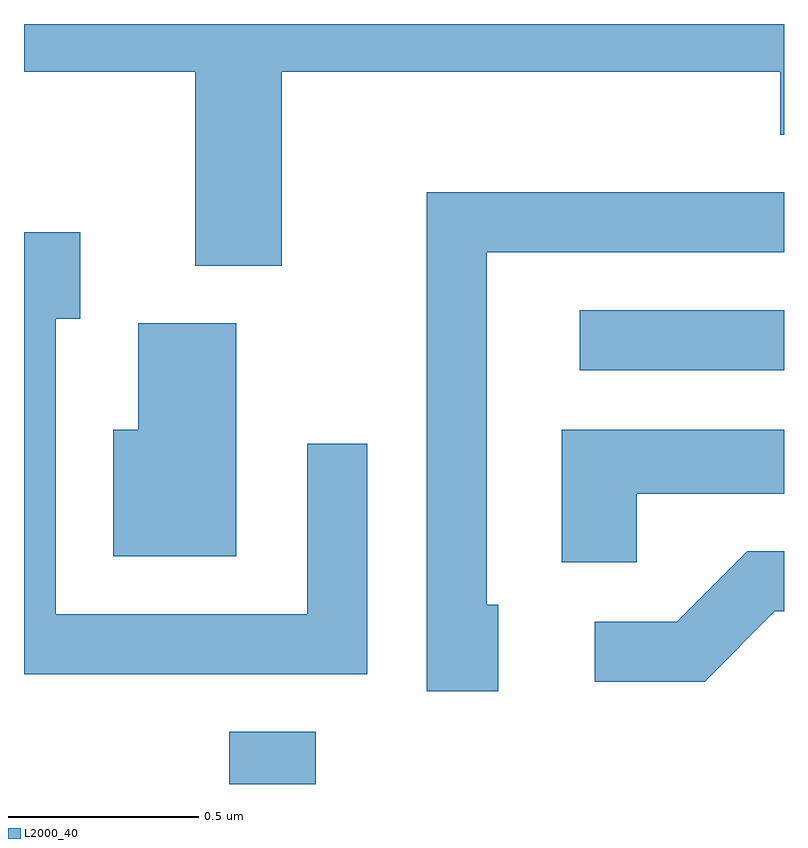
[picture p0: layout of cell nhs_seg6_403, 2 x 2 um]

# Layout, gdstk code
import gdstk
lib = gdstk.Library(unit=1e-6, precision=1e-09)
def R(c, l, rs):  # rectangles x0, y0, x1, y1
    for r in rs: c.add(gdstk.rectangle(r[:2], r[2:], *l))
def P(c, l, *ps):  # polygons
    for p in ps: c.add(gdstk.Polygon(p, *l))
L2000_40 = (2000, 40)

nhs_seg6_403 = lib.new_cell('nhs_seg6_403')
R(nhs_seg6_403, L2000_40, [(188.151,1659.162,188.379,1659.299), (189.073,1660.251,189.611,1660.409)])
P(nhs_seg6_403, L2000_40, [(188.289,1661.036),(189.601,1661.036),(189.601,1660.871),(189.611,1660.871),(189.611,1661.162),(187.611,1661.162),(187.611,1661.036),(188.061,1661.036),(188.061,1660.526),(188.289,1660.526)],
  [(188.859,1659.634),(188.829,1659.634),(188.829,1660.561),(189.611,1660.561),(189.611,1660.719),(188.671,1660.719),(188.671,1659.406),(188.859,1659.406)],
  [(188.514,1660.058),(188.356,1660.058),(188.356,1659.609),(187.694,1659.609),(187.694,1660.386),(187.759,1660.386),(187.759,1660.614),(187.611,1660.614),(187.611,1659.451),(188.514,1659.451)],
  [(188.169,1660.374),(187.911,1660.374),(187.911,1660.094),(187.846,1660.094),(187.846,1659.761),(188.169,1659.761)],
  [(189.224,1659.926),(189.611,1659.926),(189.611,1660.094),(189.026,1660.094),(189.026,1659.746),(189.224,1659.746)],
  [(189.587,1659.616),(189.611,1659.616),(189.611,1659.774),(189.514,1659.774),(189.329,1659.589),(189.113,1659.589),(189.113,1659.431),(189.402,1659.431)])

lib.write_gds('nhs_seg6_403.gds')
